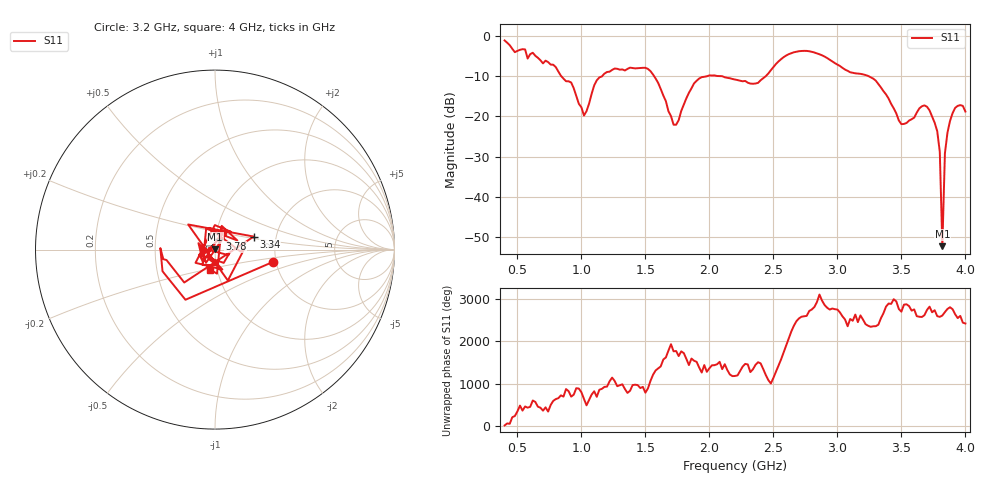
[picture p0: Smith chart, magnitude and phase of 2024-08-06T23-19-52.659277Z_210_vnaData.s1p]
!Created with skrf (http://scikit-rf.org).
# Hz S RI R 50.0
!freq ReS11 ImS11
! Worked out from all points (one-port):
!   181 points, 400 MHz to 4 GHz, reference 50 ohm
!   lowest |S11| = -52.2 dB at 3.82 GHz (marker M1), VSWR 1.00, Z = 50 + j0.243 ohm
!   |S11| at or under -10 dB: 1.567 GHz to 1.988 GHz (421 MHz wide, 23.7 % of centre); 2.058 GHz to 2.442 GHz (384.4 MHz wide, 17.1 % of centre); 3.24 GHz to end of sweep (the widest 3 of 4)
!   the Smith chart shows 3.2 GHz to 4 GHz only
!   S11 on the Smith chart (normalised r, x): 3.2 GHz: 1.93, -0.30; 3.34 GHz: 1.53, +0.23; 3.78 GHz: 1.04, +0.13; 4 GHz: 0.92, -0.21
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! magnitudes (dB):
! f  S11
! 400 MHz  -1.2
! 780 MHz  -7.2
! 860 MHz  -10.7
! 920 MHz  -11.6
! 1.02 GHz  -19.8
! 1.12 GHz  -11.1
! 1.3 GHz  -8.4
! 1.52 GHz  -8.3
! 1.6 GHz  -11.8
! 1.72 GHz  -22.1
! 1.76 GHz  -21.0
! 1.92 GHz  -10.6
! 2.2 GHz  -10.9
! 2.38 GHz  -11.7
! 2.66 GHz  -4.1
! 3.1 GHz  -9.1
! 3.2 GHz  -9.6
! 3.34 GHz  -12.8
! 3.5 GHz  -22.0
! 3.56 GHz  -21.1
! 3.68 GHz  -17.3
! 3.78 GHz  -23.7
! 3.8 GHz  -28.8
! 3.82 GHz  -52.2
! 3.84 GHz  -29.2
! 3.86 GHz  -24.1
! 3.92 GHz  -17.9
! 4 GHz  -18.8
